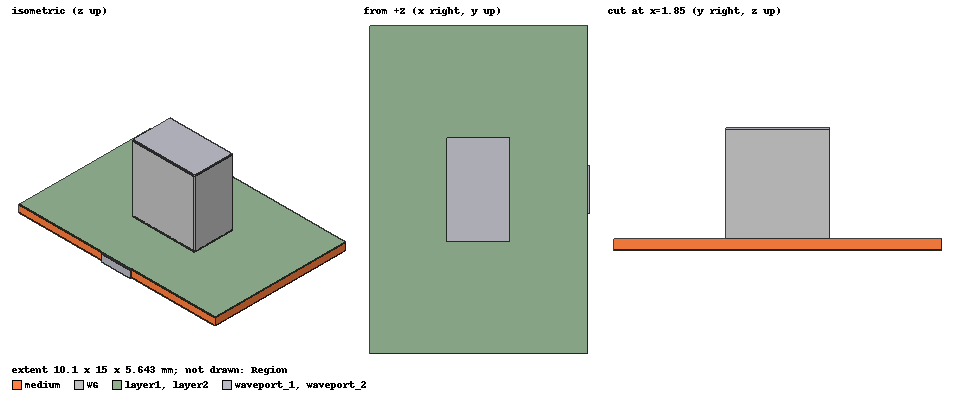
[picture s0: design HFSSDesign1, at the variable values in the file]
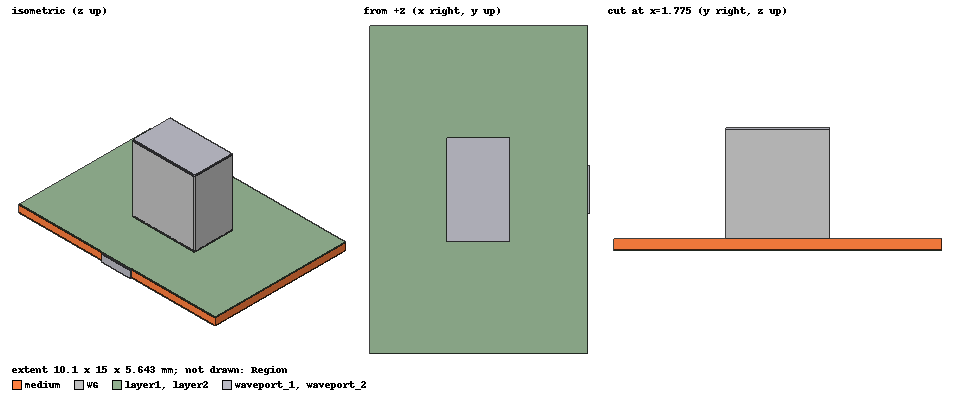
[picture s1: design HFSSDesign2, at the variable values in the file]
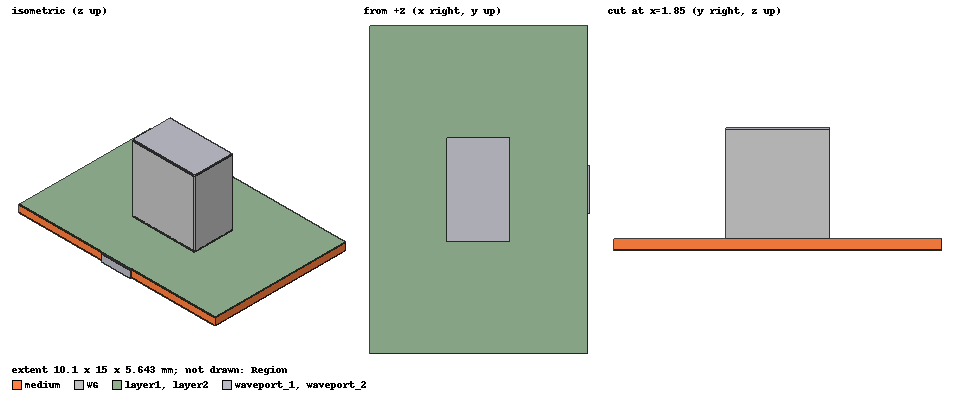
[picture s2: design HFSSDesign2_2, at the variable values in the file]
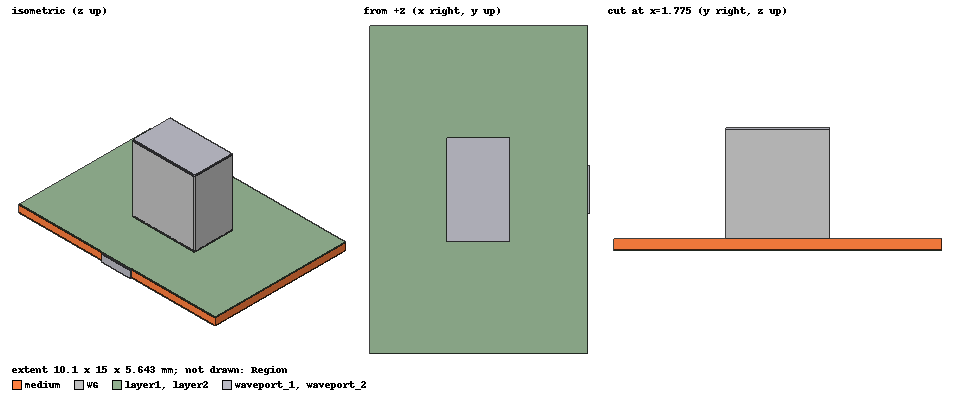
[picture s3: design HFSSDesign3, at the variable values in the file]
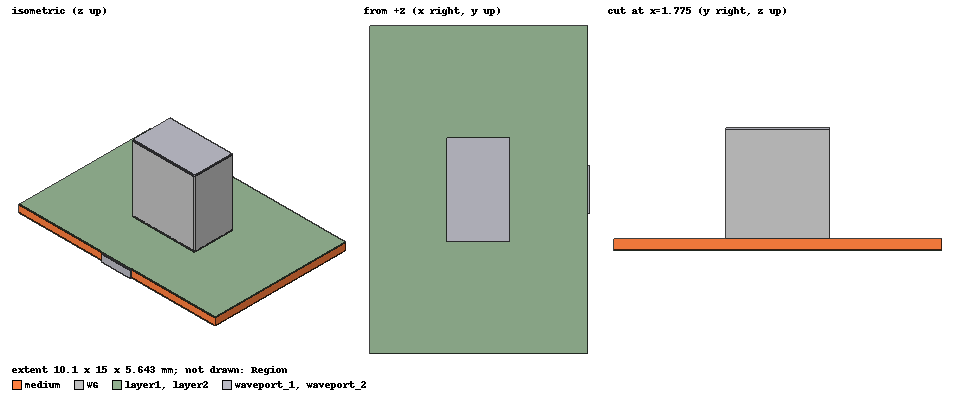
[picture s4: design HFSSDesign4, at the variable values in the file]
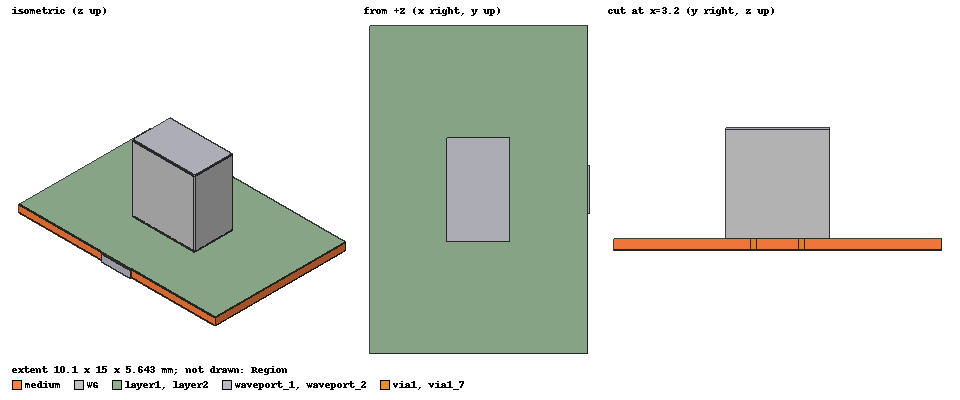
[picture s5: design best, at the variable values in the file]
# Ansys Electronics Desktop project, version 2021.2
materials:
  vacuum: permittivity=1
  air: permittivity=1.0006 permeability=1.0000004
  Rogers RO4003 (tm): permittivity=3.55 dielectric_loss_tangent=0.0027
  copper: permeability=0.999991 conductivity=58000000
  pec: conductivity=1e+30

design HFSSDesign1 (HFSS, DrivenModal, model units mm)
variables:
  m_length = 10mm
  m_width = 15mm
  m_thickness = 0.508mm
  line_thickness = 0.035mm
  WG_length = 1.8796mm
  WG_width = 3.7592mm
  WG_high = 5mm
  WG_thickness = 0.5mm
  patch_length = 0.67mm
  patch_width = 1.65mm
  Ls = 1.85mm
  Ws = 2.8mm
  via_radius = 0.15mm
  W2 = 3.35mm
  W1 = 1.75mm
  SIW_widness = 2.18mm
  sector_raduis = 0.3mm
  patch_x_dis = -0.3mm
  via_front_x_dis = -0.1mm
  sided_via_x_dis = 0.5mm
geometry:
  medium [Rogers RO4003 (tm)] = box(corner=(-m_length/2, -m_width /2, -m_thickness/2), size=(m_length, m_width, m_thickness))
  layer1 [copper] = box(corner=(-m_length/2, -m_width /2, m_thickness/2), size=(m_length, m_width, line_thickness))
  layer2 [copper] = box(corner=(-m_length/2, -m_width /2, - m_thickness/2 - line_thickness), size=(m_length, m_width, line_thickness))
  WG [copper] = box(corner=(- (WG_length + WG_thickness * 2) /2, - (WG_width  + WG_thickness * 2) /2, m_thickness/2+line_thickness), size=(WG_length + WG_thickness * 2, WG_width  + WG_thickness * 2, WG_high - line_thickness))
  WG_sub = box(corner=(- (WG_length) /2, - (WG_width ) /2, m_thickness/2 + line_thickness), size=(WG_length, WG_width, WG_high - line_thickness))
  patch [copper] = box(corner=(-patch_length/2, -patch_width/2, m_thickness/2), size=(patch_length, patch_width, line_thickness))
  via_sided [copper] = cylinder(axis=Z, base_centre=(0.05mm, -W2/2, -m_thickness/2), radius=via_radius, height=m_thickness)
  via_front [copper] = cylinder(axis=Z, base_centre=(m_length /2 - via_radius*3 - 3.54 mm, -W1/2, -m_thickness/2), radius=via_radius, height=m_thickness)
  via = cylinder(axis=Z, base_centre=(m_length /2 - via_radius*3, -SIW_widness/2, -m_thickness/2), radius=via_radius, height=m_thickness)
  via_1..via_5 = via.duplicate_along_line(step=(-0.6mm, 0mm, 0mm), total=6)
  via_front_sector = cylinder(axis=Z, base_centre=(m_length /2 - via_radius*3 - 3.54 mm, -W1/2, m_thickness/2), radius=sector_raduis, height=line_thickness)
  via_front_sector_1 = via_front_sector.duplicate_mirror(point=(0mm, 0mm, 0mm), normal=(0mm, 1mm, 0mm))
  via_5_1, via_5_2 = via_5.duplicate_along_line(step=(0mm, -0.6mm, 0mm), total=3)
  via_back_side [copper], via_5_2_1..via_5_2_4 = via_5_2.duplicate_along_line(step=(-0.6mm, 0mm, 0mm), total=6)
  via_5_2_5_1..via_5_2_5_8 = via_back_side.duplicate_along_line(step=(0mm, 0.56mm, 0mm), total=9)
  via_back_side.unite(via_5_2_5_1..via_5_2_5_8)
  via_6 [copper] = via.duplicate_mirror(point=(0mm, 0mm, 0mm), normal=(0mm, 1mm, 0mm))
  via_1_1 = via_1.duplicate_mirror(point=(0mm, 0mm, 0mm), normal=(0mm, 1mm, 0mm))
  via_2_1 = via_2.duplicate_mirror(point=(0mm, 0mm, 0mm), normal=(0mm, 1mm, 0mm))
  via_3_1 = via_3.duplicate_mirror(point=(0mm, 0mm, 0mm), normal=(0mm, 1mm, 0mm))
  via_4_1 = via_4.duplicate_mirror(point=(0mm, 0mm, 0mm), normal=(0mm, 1mm, 0mm))
  via_5_3 = via_5.duplicate_mirror(point=(0mm, 0mm, 0mm), normal=(0mm, 1mm, 0mm))
  via_5_1_1 = via_5_1.duplicate_mirror(point=(0mm, 0mm, 0mm), normal=(0mm, 1mm, 0mm))
  via_5_2_6 = via_5_2.duplicate_mirror(point=(0mm, 0mm, 0mm), normal=(0mm, 1mm, 0mm))
  via_5_2_1_1 = via_5_2_1.duplicate_mirror(point=(0mm, 0mm, 0mm), normal=(0mm, 1mm, 0mm))
  via_5_2_2_1 = via_5_2_2.duplicate_mirror(point=(0mm, 0mm, 0mm), normal=(0mm, 1mm, 0mm))
  via_5_2_3_1 = via_5_2_3.duplicate_mirror(point=(0mm, 0mm, 0mm), normal=(0mm, 1mm, 0mm))
  via_5_2_4_1 = via_5_2_4.duplicate_mirror(point=(0mm, 0mm, 0mm), normal=(0mm, 1mm, 0mm))
  via_front_1 = via_front.duplicate_mirror(point=(0mm, 0mm, 0mm), normal=(0mm, 1mm, 0mm))
  via_sided_1 = via_sided.duplicate_mirror(point=(0mm, 0mm, 0mm), normal=(0mm, 1mm, 0mm))
  via_front.unite(via_front_1)
  via_sided.unite(via_sided_1)
  via_6.unite(via, via_1, via_1_1, via_2, via_2_1, via_3, via_3_1, via_4, via_4_1, via_5, via_5_1, via_5_1_1, via_5_2, via_5_2_1, via_5_2_1_1, via_5_2_2, via_5_2_2_1, via_5_2_3, via_5_2_3_1, via_5_2_4, via_5_2_4_1, via_5_2_6, via_5_3)
  WG.subtract(WG_sub)
  waveport1 = rectangle(corner=(- (WG_length + WG_thickness * 2) /2, - (WG_width  + WG_thickness * 2) /2, m_thickness/2 + WG_high), x_size=WG_length + WG_thickness * 2, y_size=WG_width  + WG_thickness * 2)
  waveport_1 [pec] = box(corner=(- (WG_length + WG_thickness * 2) /2, - (WG_width  + WG_thickness * 2) /2, m_thickness/2 + WG_high), size=(WG_length  + WG_thickness * 2, WG_width  + WG_thickness * 2, 0.1mm))
  waveport2 = rectangle(corner=(m_length/2, - SIW_widness/2, -m_thickness/2 - line_thickness), y_size=SIW_widness, z_size=m_thickness+line_thickness*2)
  waveport_2 [pec] = box(corner=(m_length/2, - SIW_widness/2, -m_thickness/2 - line_thickness), size=(0.1mm, SIW_widness, m_thickness + line_thickness *2))
  Region [air] = region(percentage_offset=30 on all sides)
  layer1_sub = box(corner=(-Ls/2, -Ws /2, m_thickness/2), size=(Ls, Ws, line_thickness))
  layer1.subtract(layer1_sub)
  layer1.unite(via_front_sector, via_front_sector_1)
  patch.move(patch_x_dis, 0, 0mm)
  via_front.move(via_front_x_dis, 0mm, 0mm)
  via_sided.move(sided_via_x_dis, 0mm, 0mm)
  via_6_1 = via_6.copy()
  via_back_side_1 = via_back_side.copy()
  via_front_2 = via_front.copy()
  via_sided_2 = via_sided.copy()
  medium.subtract(via_6_1, via_back_side_1, via_front_2, via_sided_2)
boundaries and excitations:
  Rad1: Radiation Objects=Region
  1: Wave Port Objects=waveport1 NumModes=1 Modes{Mode1{CharImp=Zpi}}
  2: Wave Port Objects=waveport2 NumModes=1 Modes{Mode1{CharImp=Zpi}}
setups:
  Setup1: HfssDriven Frequency=60GHz MaxDeltaS=0.02 MaximumPasses=10 MinimumPasses=1 MinimumConvergedPasses=1 PercentRefinement=30 BasisOrder=1 PortAccuracy=2
    sweep Sweep: 50GHz to 70GHz step 0.1GHz; Type=Interpolating InterpTolerance=0.5 InterpMaxSolns=250 InterpUsePortImped=false PassivityErrorTolerance=0.0001
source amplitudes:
  1:1: 1W 0deg
  2:1: 0W 0deg
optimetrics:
  ParametricSetup1: Parametric Sim._Setups=[Setup1]
    sweep sided_via_x_dis: LIN -0.1mm 0.5mm 0.1mm
    sweep via_front_x_dis: LIN -0.2mm 0.2mm 0.1mm
    sweep patch_x_dis: LIN -0.3mm 0.3mm 0.1mm
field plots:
  Mag_E1, Mag_E3: E Field in Region on Setup1 : LastAdaptive at Freq=60GHz Phase=0deg
  Mag_E2, Mag_E4: E Field in medium on Setup1 : LastAdaptive at Freq=60GHz Phase=0deg
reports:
  S Parameter Plot 1: dB(S(1,1)), dB(S(2,1)) vs Freq on Setup1 : Sweep
  S Parameter Plot 2: dB(S(2,1)) vs Freq on Setup1 : Sweep [patch_x_dis=all via_front_x_dis=all sided_via_x_dis=all]; markers MY1 at y=-1
  S Parameter Plot 3: dB(S(1,1)), dB(S(2,1)) vs Freq on Setup1 : Sweep [patch_x_dis=-0.3mm via_front_x_dis=-0.1mm sided_via_x_dis=0.5mm]; markers MY1 at y=-1

design HFSSDesign2 (HFSS, DrivenModal, model units mm)
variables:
  m_length = 10mm
  m_width = 15mm
  m_thickness = 0.508mm
  line_thickness = 0.035mm
  WG_length = 1.8796mm
  WG_width = 3.7592mm
  WG_high = 5mm
  WG_thickness = 0.5mm
  patch_length = 0.67mm
  patch_width = 1.65mm
  Ls = 1.85mm
  Ws = 2.8mm
  via_radius = 0.15mm
  W2 = 3.35mm
  W1 = 1.75mm
  SIW_widness = 2.18mm
  sector_raduis = 0.01mm
  patch_x_dis = -0.3mm
  via_front_x_dis = -0.2mm
  sided_via_x_dis = 0.4mm
  via_front_radius = 0.12mm
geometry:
  medium [Rogers RO4003 (tm)] = box(corner=(-m_length/2, -m_width /2, -m_thickness/2), size=(m_length, m_width, m_thickness))
  layer1 [copper] = box(corner=(-m_length/2, -m_width /2, m_thickness/2), size=(m_length, m_width, line_thickness))
  layer2 [copper] = box(corner=(-m_length/2, -m_width /2, - m_thickness/2 - line_thickness), size=(m_length, m_width, line_thickness))
  WG [copper] = box(corner=(- (WG_length + WG_thickness * 2) /2, - (WG_width  + WG_thickness * 2) /2, m_thickness/2+line_thickness), size=(WG_length + WG_thickness * 2, WG_width  + WG_thickness * 2, WG_high - line_thickness))
  WG_sub = box(corner=(- (WG_length) /2, - (WG_width ) /2, m_thickness/2 + line_thickness), size=(WG_length, WG_width, WG_high - line_thickness))
  patch [copper] = box(corner=(-patch_length/2, -patch_width/2, m_thickness/2), size=(patch_length, patch_width, line_thickness))
  via_sided [copper] = cylinder(axis=Z, base_centre=(0.05mm, -W2/2, -m_thickness/2), radius=via_radius, height=m_thickness)
  via_front [copper] = cylinder(axis=Z, base_centre=(m_length /2 - via_radius*3 - 3.25 mm, -W1/2, -m_thickness/2), radius=via_front_radius, height=m_thickness)
  via = cylinder(axis=Z, base_centre=(m_length /2 - via_radius*3.5, -SIW_widness/2, -m_thickness/2), radius=via_radius, height=m_thickness)
  via_1..via_5 = via.duplicate_along_line(step=(-0.6mm, 0mm, 0mm), total=6)
  via_front_sector = cylinder(axis=Z, base_centre=(m_length /2 - via_radius*3 - 3.54 mm, -W1/2, m_thickness/2), radius=sector_raduis, height=line_thickness)
  via_front_sector_1 = via_front_sector.duplicate_mirror(point=(0mm, 0mm, 0mm), normal=(0mm, 1mm, 0mm))
  via_5_1, via_5_2 = via_5.duplicate_along_line(step=(0mm, -0.6mm, 0mm), total=3)
  via_back_side [copper], via_5_2_1..via_5_2_4 = via_5_2.duplicate_along_line(step=(-0.6mm, 0mm, 0mm), total=6)
  via_5_2_5_1..via_5_2_5_8 = via_back_side.duplicate_along_line(step=(0mm, 0.56mm, 0mm), total=9)
  via_back_side.unite(via_5_2_5_1..via_5_2_5_8)
  via_6 [copper] = via.duplicate_mirror(point=(0mm, 0mm, 0mm), normal=(0mm, 1mm, 0mm))
  via_1_1 = via_1.duplicate_mirror(point=(0mm, 0mm, 0mm), normal=(0mm, 1mm, 0mm))
  via_2_1 = via_2.duplicate_mirror(point=(0mm, 0mm, 0mm), normal=(0mm, 1mm, 0mm))
  via_3_1 = via_3.duplicate_mirror(point=(0mm, 0mm, 0mm), normal=(0mm, 1mm, 0mm))
  via_4_1 = via_4.duplicate_mirror(point=(0mm, 0mm, 0mm), normal=(0mm, 1mm, 0mm))
  via_5_3 = via_5.duplicate_mirror(point=(0mm, 0mm, 0mm), normal=(0mm, 1mm, 0mm))
  via_5_1_1 = via_5_1.duplicate_mirror(point=(0mm, 0mm, 0mm), normal=(0mm, 1mm, 0mm))
  via_5_2_6 = via_5_2.duplicate_mirror(point=(0mm, 0mm, 0mm), normal=(0mm, 1mm, 0mm))
  via_5_2_1_1 = via_5_2_1.duplicate_mirror(point=(0mm, 0mm, 0mm), normal=(0mm, 1mm, 0mm))
  via_5_2_2_1 = via_5_2_2.duplicate_mirror(point=(0mm, 0mm, 0mm), normal=(0mm, 1mm, 0mm))
  via_5_2_3_1 = via_5_2_3.duplicate_mirror(point=(0mm, 0mm, 0mm), normal=(0mm, 1mm, 0mm))
  via_5_2_4_1 = via_5_2_4.duplicate_mirror(point=(0mm, 0mm, 0mm), normal=(0mm, 1mm, 0mm))
  via_front_1 = via_front.duplicate_mirror(point=(0mm, 0mm, 0mm), normal=(0mm, 1mm, 0mm))
  via_sided_1 = via_sided.duplicate_mirror(point=(0mm, 0mm, 0mm), normal=(0mm, 1mm, 0mm))
  via_front.unite(via_front_1)
  via_sided.unite(via_sided_1)
  via_6.unite(via, via_1, via_1_1, via_2, via_2_1, via_3, via_3_1, via_4, via_4_1, via_5, via_5_1, via_5_1_1, via_5_2, via_5_2_1, via_5_2_1_1, via_5_2_2, via_5_2_2_1, via_5_2_3, via_5_2_3_1, via_5_2_4, via_5_2_4_1, via_5_2_6, via_5_3)
  WG.subtract(WG_sub)
  waveport1 = rectangle(corner=(- (WG_length + WG_thickness * 2) /2, - (WG_width  + WG_thickness * 2) /2, m_thickness/2 + WG_high), x_size=WG_length + WG_thickness * 2, y_size=WG_width  + WG_thickness * 2)
  waveport_1 [pec] = box(corner=(- (WG_length + WG_thickness * 2) /2, - (WG_width  + WG_thickness * 2) /2, m_thickness/2 + WG_high), size=(WG_length  + WG_thickness * 2, WG_width  + WG_thickness * 2, 0.1mm))
  waveport2 = rectangle(corner=(m_length/2, - SIW_widness/2, -m_thickness/2 - line_thickness), y_size=SIW_widness, z_size=m_thickness+line_thickness*2)
  waveport_2 [pec] = box(corner=(m_length/2, - SIW_widness/2, -m_thickness/2 - line_thickness), size=(0.1mm, SIW_widness, m_thickness + line_thickness *2))
  Region [air] = region(percentage_offset=30 on all sides)
  layer1_sub = box(corner=(-Ls/2, -Ws /2, m_thickness/2), size=(Ls, Ws, line_thickness))
  layer1.subtract(layer1_sub)
  layer1.unite(via_front_sector, via_front_sector_1)
  patch.move(patch_x_dis, 0, 0mm)
  via_front.move(via_front_x_dis, 0mm, 0mm)
  via_sided.move(sided_via_x_dis, 0mm, 0mm)
  via_6_1 = via_6.copy()
  via_back_side_1 = via_back_side.copy()
  via_front_2 = via_front.copy()
  via_sided_2 = via_sided.copy()
  medium.subtract(via_6_1, via_back_side_1, via_front_2, via_sided_2)
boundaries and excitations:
  Rad1: Radiation Objects=Region
  1: Wave Port Objects=waveport1 NumModes=1 Modes{Mode1{CharImp=Zpi}}
  2: Wave Port Objects=waveport2 NumModes=1 Modes{Mode1{CharImp=Zpi}}
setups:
  Setup1: HfssDriven Frequency=60GHz MaxDeltaS=0.02 MaximumPasses=10 MinimumPasses=1 MinimumConvergedPasses=1 PercentRefinement=30 BasisOrder=1 PortAccuracy=2
    sweep Sweep: 50GHz to 70GHz step 0.1GHz; Type=Interpolating InterpTolerance=0.5 InterpMaxSolns=250 InterpUsePortImped=false PassivityErrorTolerance=0.0001
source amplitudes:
  1:1: 1W 0deg
  2:1: 0W 0deg
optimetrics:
  ParametricSetup1: Parametric Sim._Setups=[Setup1]
    sweep patch_x_dis: LIN -0.3mm 0mm 0.1mm
  ParametricSetup2: Parametric Sim._Setups=[Setup1]
    sweep W1: LIN 1mm 1.7mm 0.1mm
  ParametricSetup3: Parametric Sim._Setups=[Setup1]
    sweep W1: 1.5mm
  ParametricSetup4: Parametric Sim._Setups=[Setup1]
    sweep sided_via_x_dis: LIN 0mm 0.6mm 0.1mm
    sweep via_front_x_dis: LIN -0.3mm -0.1mm 0.1mm
  ParametricSetup5: Parametric Sim._Setups=[Setup1]
    sweep SIW_widness: 2.3mm
  ParametricSetup6: Parametric Sim._Setups=[Setup1]
    sweep SIW_widness: LIN 2mm 2.2mm 0.02mm
    sweep via_front_x_dis: LIN -0.3mm -0.1mm 0.05mm
    sweep sided_via_x_dis: LIN 0.3mm 0.5mm 0.05mm
  ParametricSetup7: Parametric Sim._Setups=[Setup1]
    sweep patch_x_dis: LIN -0.3mm 0.1mm 0.1mm
    sweep patch_length: LIN 0.57mm 0.77mm 0.05mm
    sweep patch_width: LIN 1.45mm 1.7mm 0.05mm
  ParametricSetup8: Parametric Sim._Setups=[Setup1]
    sweep patch_x_dis: LIN -0.3mm -0.1mm 0.1mm
    sweep patch_length: LIN 0.25mm 0.4mm 0.05mm
    sweep patch_width: LIN 1.2mm 1.4mm 0.1mm
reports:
  S Parameter Plot 1: dB(S(1,1)), dB(S(2,1)) vs Freq on Setup1 : Sweep; markers MY1 at y=-1, MY2 at y=-10
  S Parameter Plot 3: dB(S(2,1)) vs Freq on Setup1 : Sweep [W1=all patch_x_dis=all]; markers MY1 at y=-1
  S Parameter Plot 4: dB(S(2,1)) vs Freq on Setup1 : Sweep [W1=all patch_x_dis=all via_front_x_dis=all sided_via_x_dis=all via_front_radius=all]; markers MY1 at y=-1
  S Parameter Plot 5: dB(S(2,1)) vs Freq on Setup1 : Sweep [SIW_widness=2.18mm,2.3mm]
  S Parameter Plot 6: dB(S(2,1)) vs Freq on Setup1 : Sweep [W1=all SIW_widness=all patch_x_dis=all via_front_x_dis=all sided_via_x_dis=all via_front_radius=all]; markers MY1 at y=-1
  S Parameter Plot 7: dB(S(2,1)) vs Freq on Setup1 : Sweep [SIW_widness=all via_front_x_dis=-0.2mm sided_via_x_dis=0mm via_front_radius=0.12mm]
  S Parameter Plot 8: dB(S(2,1)) vs Freq on Setup1 : Sweep [patch_length=0.57mm patch_width=all patch_x_dis=-0.3mm]; markers MY1 at y=-1
  S Parameter Plot 9: dB(S(2,1)) vs Freq on Setup1 : Sweep [patch_length=0.25mm,0.3mm,0.35mm,0.4mm patch_width=1.2mm,1.3mm,1.4mm,1.45mm patch_x_dis=-0.3mm,-0.2mm]; markers MY1 at y=-1

design HFSSDesign2_2 (HFSS, DrivenModal, model units mm)
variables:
  m_length = 10mm
  m_width = 15mm
  m_thickness = 0.508mm
  line_thickness = 0.035mm
  WG_length = 1.8796mm
  WG_width = 3.7592mm
  WG_high = 5mm
  WG_thickness = 0.5mm
  patch_length = 0.67mm
  patch_width = 1.65mm
  Ls = 1.85mm
  Ws = 2.8mm
  via_radius = 0.15mm
  W2 = 3.35mm
  W1 = 1.75mm
  SIW_widness = 2.18mm
  sector_raduis = 0.01mm
  patch_x_dis = -0.3mm
  via_front_x_dis = -0.2mm
  sided_via_x_dis = 0mm
  via_front_radius = 0.12mm
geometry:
  medium [Rogers RO4003 (tm)] = box(corner=(-m_length/2, -m_width /2, -m_thickness/2), size=(m_length, m_width, m_thickness))
  layer1 [copper] = box(corner=(-m_length/2, -m_width /2, m_thickness/2), size=(m_length, m_width, line_thickness))
  layer2 [copper] = box(corner=(-m_length/2, -m_width /2, - m_thickness/2 - line_thickness), size=(m_length, m_width, line_thickness))
  WG [copper] = box(corner=(- (WG_length + WG_thickness * 2) /2, - (WG_width  + WG_thickness * 2) /2, m_thickness/2+line_thickness), size=(WG_length + WG_thickness * 2, WG_width  + WG_thickness * 2, WG_high - line_thickness))
  WG_sub = box(corner=(- (WG_length) /2, - (WG_width ) /2, m_thickness/2 + line_thickness), size=(WG_length, WG_width, WG_high - line_thickness))
  patch [copper] = box(corner=(-patch_length/2, -patch_width/2, m_thickness/2), size=(patch_length, patch_width, line_thickness))
  via_sided [copper] = cylinder(axis=Z, base_centre=(0.05mm, -W2/2, -m_thickness/2), radius=via_radius, height=m_thickness)
  via_front [copper] = cylinder(axis=Z, base_centre=(m_length /2 - via_radius*3 - 3.25 mm, -W1/2, -m_thickness/2), radius=via_front_radius, height=m_thickness)
  via = cylinder(axis=Z, base_centre=(m_length /2 - via_radius*2.5, -SIW_widness/2, -m_thickness/2), radius=via_radius, height=m_thickness)
  via_5 = via.duplicate_along_line(step=(-0.6mm, 0mm, 0mm), total=6)  # copies kept: 5
  via_front_sector = cylinder(axis=Z, base_centre=(m_length /2 - via_radius*3 - 3.54 mm, -W1/2, m_thickness/2), radius=sector_raduis, height=line_thickness)
  via_front_sector_1 = via_front_sector.duplicate_mirror(point=(0mm, 0mm, 0mm), normal=(0mm, 1mm, 0mm))
  via_5_2 = via_5.duplicate_along_line(step=(0mm, -0.6mm, 0mm), total=3)  # copies kept: 2
  via_back_side [copper] = via_5_2.duplicate_along_line(step=(-0.6mm, 0mm, 0mm), total=6)  # copies kept: 5
  via_5_2_5_1..via_5_2_5_8 = via_back_side.duplicate_along_line(step=(0mm, 0.56mm, 0mm), total=9)
  via_back_side.unite(via_5_2_5_1..via_5_2_5_8)
  [via, via_5, via_5_2].delete()
  via_front_1 = via_front.duplicate_mirror(point=(0mm, 0mm, 0mm), normal=(0mm, 1mm, 0mm))
  via_sided_1 = via_sided.duplicate_mirror(point=(0mm, 0mm, 0mm), normal=(0mm, 1mm, 0mm))
  via_front.unite(via_front_1)
  via_sided.unite(via_sided_1)
  WG.subtract(WG_sub)
  waveport1 = rectangle(corner=(- (WG_length + WG_thickness * 2) /2, - (WG_width  + WG_thickness * 2) /2, m_thickness/2 + WG_high), x_size=WG_length + WG_thickness * 2, y_size=WG_width  + WG_thickness * 2)
  waveport_1 [pec] = box(corner=(- (WG_length + WG_thickness * 2) /2, - (WG_width  + WG_thickness * 2) /2, m_thickness/2 + WG_high), size=(WG_length  + WG_thickness * 2, WG_width  + WG_thickness * 2, 0.1mm))
  waveport2 = rectangle(corner=(m_length/2, - SIW_widness/2, -m_thickness/2 - line_thickness), y_size=SIW_widness, z_size=m_thickness+line_thickness*2)
  waveport_2 [pec] = box(corner=(m_length/2, - SIW_widness/2, -m_thickness/2 - line_thickness), size=(0.1mm, SIW_widness, m_thickness + line_thickness *2))
  Region [air] = region(percentage_offset=30 on all sides)
  layer1_sub = box(corner=(-Ls/2, -Ws /2, m_thickness/2), size=(Ls, Ws, line_thickness))
  layer1.subtract(layer1_sub)
  layer1.unite(via_front_sector, via_front_sector_1)
  patch.move(patch_x_dis, 0, 0mm)
  via_front.move(via_front_x_dis, 0mm, 0mm)
  via_sided.move(sided_via_x_dis, 0mm, 0mm)
  via_6 [copper] = cylinder(axis=Z, base_centre=(m_length /2 - via_radius*2, - SIW_widness /2, - m_thickness /2), radius=via_radius, height=m_thickness)
  via_6_1..via_6_6 = via_6.duplicate_along_line(step=(-0.5mm, 0mm, 0mm), total=7)
  via_6_6_1, via_6_6_2 = via_6_6.duplicate_along_line(step=(0mm, -0.5mm, 0mm), total=3)
  via_6_6_2_1..via_6_6_2_5 = via_6_6_2.duplicate_along_line(step=(-0.5mm, 0mm, 0mm), total=6)
  [via_6_6_2, via_6_6_2_1..via_6_6_2_5].move(-0.2mm, 0mm, 0mm)
  via_6.unite(via_6_1..via_6_6, via_6_6_1, via_6_6_2, via_6_6_2_1..via_6_6_2_5)
  via_6_7 [copper] = via_6.duplicate_mirror(point=(0mm, 0mm, 0mm), normal=(0mm, -1mm, 0mm))
  via_6_8 = via_6.copy()
  via_6_7_1 = via_6_7.copy()
  via_back_side_1 = via_back_side.copy()
  via_front_2 = via_front.copy()
  via_sided_2 = via_sided.copy()
  medium.subtract(via_6_8, via_6_7_1, via_back_side_1, via_front_2, via_sided_2)
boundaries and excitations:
  Rad1: Radiation Objects=Region
  1: Wave Port Objects=waveport1 NumModes=1 Modes{Mode1{CharImp=Zpi}}
  2: Wave Port Objects=waveport2 NumModes=1 Modes{Mode1{CharImp=Zpi}}
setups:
  Setup1: HfssDriven Frequency=60GHz MaxDeltaS=0.02 MaximumPasses=10 MinimumPasses=1 MinimumConvergedPasses=1 PercentRefinement=30 BasisOrder=1 PortAccuracy=2
    sweep Sweep: 50GHz to 70GHz step 0.1GHz; Type=Interpolating InterpTolerance=0.5 InterpMaxSolns=250 InterpUsePortImped=false PassivityErrorTolerance=0.0001
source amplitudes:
  1:1: 1W 0deg
  2:1: 0W 0deg
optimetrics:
  ParametricSetup1: Parametric Sim._Setups=[Setup1]
    sweep SIW_widness: LIN 2.1mm 2.3mm 0.02mm
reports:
  S Parameter Plot 1: dB(S(1,1)), dB(S(2,1)) vs Freq on Setup1 : Sweep; markers MY1 at y=-1
  S Parameter Plot 2: dB(S(2,1)) vs Freq on Setup1 : Sweep [SIW_widness=all]

design HFSSDesign3 (HFSS, DrivenModal, model units mm)
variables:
  m_length = 10mm
  m_width = 15mm
  m_thickness = 0.508mm
  line_thickness = 0.035mm
  WG_length = 1.8796mm
  WG_width = 3.7592mm
  WG_high = 5mm
  WG_thickness = 0.5mm
  patch_length = 0.4mm
  patch_width = 1.4mm
  Ls = 1.85mm
  Ws = 2.8mm
  via_radius = 0.15mm
  W2 = 3.35mm
  W1 = 1.75mm
  SIW_widness = 2.18mm
  sector_raduis = 0.01mm
  patch_x_dis = -0.3mm
  via_front_x_dis = -0.2mm
  sided_via_x_dis = 0.4mm
  via_front_radius = 0.12mm
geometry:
  medium [Rogers RO4003 (tm)] = box(corner=(-m_length/2, -m_width /2, -m_thickness/2), size=(m_length, m_width, m_thickness))
  layer1 [copper] = box(corner=(-m_length/2, -m_width /2, m_thickness/2), size=(m_length, m_width, line_thickness))
  layer2 [copper] = box(corner=(-m_length/2, -m_width /2, - m_thickness/2 - line_thickness), size=(m_length, m_width, line_thickness))
  WG [copper] = box(corner=(- (WG_length + WG_thickness * 2) /2, - (WG_width  + WG_thickness * 2) /2, m_thickness/2+line_thickness), size=(WG_length + WG_thickness * 2, WG_width  + WG_thickness * 2, WG_high - line_thickness))
  WG_sub = box(corner=(- (WG_length) /2, - (WG_width ) /2, m_thickness/2 + line_thickness), size=(WG_length, WG_width, WG_high - line_thickness))
  patch [copper] = box(corner=(-patch_length/2, -patch_width/2, m_thickness/2), size=(patch_length, patch_width, line_thickness))
  via_sided [copper] = cylinder(axis=Z, base_centre=(0.05mm, -W2/2, -m_thickness/2), radius=via_radius, height=m_thickness)
  via_front [copper] = cylinder(axis=Z, base_centre=(m_length /2 - via_radius*3 - 3.2 mm, -W1/2, -m_thickness/2), radius=via_front_radius, height=m_thickness)
  via = cylinder(axis=Z, base_centre=(m_length /2 - via_radius*3.5, -SIW_widness/2, -m_thickness/2), radius=via_radius, height=m_thickness)
  via_1..via_5 = via.duplicate_along_line(step=(-0.6mm, 0mm, 0mm), total=6)
  via_front_sector = cylinder(axis=Z, base_centre=(m_length /2 - via_radius*3 - 3.54 mm, -W1/2, m_thickness/2), radius=sector_raduis, height=line_thickness)
  via_front_sector_1 = via_front_sector.duplicate_mirror(point=(0mm, 0mm, 0mm), normal=(0mm, 1mm, 0mm))
  via_5_1, via_5_2 = via_5.duplicate_along_line(step=(0mm, -0.6mm, 0mm), total=3)
  via_back_side [copper], via_5_2_1..via_5_2_4 = via_5_2.duplicate_along_line(step=(-0.6mm, 0mm, 0mm), total=6)
  via_5_2_5_1..via_5_2_5_8 = via_back_side.duplicate_along_line(step=(0mm, 0.56mm, 0mm), total=9)
  via_back_side.unite(via_5_2_5_1..via_5_2_5_8)
  via_6 [copper] = via.duplicate_mirror(point=(0mm, 0mm, 0mm), normal=(0mm, 1mm, 0mm))
  via_1_1 = via_1.duplicate_mirror(point=(0mm, 0mm, 0mm), normal=(0mm, 1mm, 0mm))
  via_2_1 = via_2.duplicate_mirror(point=(0mm, 0mm, 0mm), normal=(0mm, 1mm, 0mm))
  via_3_1 = via_3.duplicate_mirror(point=(0mm, 0mm, 0mm), normal=(0mm, 1mm, 0mm))
  via_4_1 = via_4.duplicate_mirror(point=(0mm, 0mm, 0mm), normal=(0mm, 1mm, 0mm))
  via_5_3 = via_5.duplicate_mirror(point=(0mm, 0mm, 0mm), normal=(0mm, 1mm, 0mm))
  via_5_1_1 = via_5_1.duplicate_mirror(point=(0mm, 0mm, 0mm), normal=(0mm, 1mm, 0mm))
  via_5_2_6 = via_5_2.duplicate_mirror(point=(0mm, 0mm, 0mm), normal=(0mm, 1mm, 0mm))
  via_5_2_1_1 = via_5_2_1.duplicate_mirror(point=(0mm, 0mm, 0mm), normal=(0mm, 1mm, 0mm))
  via_5_2_2_1 = via_5_2_2.duplicate_mirror(point=(0mm, 0mm, 0mm), normal=(0mm, 1mm, 0mm))
  via_5_2_3_1 = via_5_2_3.duplicate_mirror(point=(0mm, 0mm, 0mm), normal=(0mm, 1mm, 0mm))
  via_5_2_4_1 = via_5_2_4.duplicate_mirror(point=(0mm, 0mm, 0mm), normal=(0mm, 1mm, 0mm))
  via_front_1 = via_front.duplicate_mirror(point=(0mm, 0mm, 0mm), normal=(0mm, 1mm, 0mm))
  via_sided_1 = via_sided.duplicate_mirror(point=(0mm, 0mm, 0mm), normal=(0mm, 1mm, 0mm))
  via_front.unite(via_front_1)
  via_sided.unite(via_sided_1)
  via_6.unite(via, via_1, via_1_1, via_2, via_2_1, via_3, via_3_1, via_4, via_4_1, via_5, via_5_1, via_5_1_1, via_5_2, via_5_2_1, via_5_2_1_1, via_5_2_2, via_5_2_2_1, via_5_2_3, via_5_2_3_1, via_5_2_4, via_5_2_4_1, via_5_2_6, via_5_3)
  WG.subtract(WG_sub)
  waveport1 = rectangle(corner=(- (WG_length + WG_thickness * 2) /2, - (WG_width  + WG_thickness * 2) /2, m_thickness/2 + WG_high), x_size=WG_length + WG_thickness * 2, y_size=WG_width  + WG_thickness * 2)
  waveport_1 [pec] = box(corner=(- (WG_length + WG_thickness * 2) /2, - (WG_width  + WG_thickness * 2) /2, m_thickness/2 + WG_high), size=(WG_length  + WG_thickness * 2, WG_width  + WG_thickness * 2, 0.1mm))
  waveport2 = rectangle(corner=(m_length/2, - SIW_widness/2, -m_thickness/2 - line_thickness), y_size=SIW_widness, z_size=m_thickness+line_thickness*2)
  waveport_2 [pec] = box(corner=(m_length/2, - SIW_widness/2, -m_thickness/2 - line_thickness), size=(0.1mm, SIW_widness, m_thickness + line_thickness *2))
  Region [air] = region(percentage_offset=30 on all sides)
  layer1_sub = box(corner=(-Ls/2, -Ws /2, m_thickness/2), size=(Ls, Ws, line_thickness))
  layer1.subtract(layer1_sub)
  layer1.unite(via_front_sector, via_front_sector_1)
  patch.move(patch_x_dis, 0, 0mm)
  via_front.move(via_front_x_dis, 0mm, 0mm)
  via_sided.move(sided_via_x_dis, 0mm, 0mm)
  via_6_1 = via_6.copy()
  via_back_side_1 = via_back_side.copy()
  via_front_2 = via_front.copy()
  via_sided_2 = via_sided.copy()
  medium.subtract(via_6_1, via_back_side_1, via_front_2, via_sided_2)
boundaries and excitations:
  Rad1: Radiation Objects=Region
  1: Wave Port Objects=waveport1 NumModes=1 Modes{Mode1{CharImp=Zpi}}
  2: Wave Port Objects=waveport2 NumModes=1 Modes{Mode1{CharImp=Zpi}}
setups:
  Setup1: HfssDriven Frequency=60GHz MaxDeltaS=0.02 MaximumPasses=10 MinimumPasses=1 MinimumConvergedPasses=1 PercentRefinement=30 BasisOrder=1 PortAccuracy=2
    sweep Sweep: 50GHz to 70GHz step 0.1GHz; Type=Interpolating InterpTolerance=0.5 InterpMaxSolns=250 InterpUsePortImped=false PassivityErrorTolerance=0.0001
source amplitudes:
  1:1: 1W 0deg
  2:1: 0W 0deg
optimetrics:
  ParametricSetup1: Parametric Sim._Setups=[Setup1]
    sweep W1: 1.65mm 1.55mm
  ParametricSetup2: Parametric Sim._Setups=[Setup1]
    sweep Ls: LIN 1.65mm 1.85mm 0.05mm
    sweep Ws: LIN 2.6mm 3.3mm 0.1mm
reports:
  S Parameter Plot 1: dB(S(1,1)), dB(S(2,1)) vs Freq on Setup1 : Sweep; markers MY1 at y=-50
  S Parameter Plot 2: dB(S(2,1)) vs Freq on Setup1 : Sweep [Ls=all Ws=all W1=all]; markers MY1 at y=-1
  S Parameter Plot 3: dB(S(1,1)), dB(S(2,1)) vs Freq on Setup1 : Sweep [Ls=1.75mm Ws=2.9mm]; markers MY1 at y=-1

design HFSSDesign4 (HFSS, DrivenModal, model units mm)
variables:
  m_length = 10mm
  m_width = 15mm
  m_thickness = 0.508mm
  line_thickness = 0.035mm
  WG_length = 1.8796mm
  WG_width = 3.7592mm
  WG_high = 5mm
  WG_thickness = 0.5mm
  patch_length = 0.4mm
  patch_width = 1.4mm
  Ls = 1.75mm
  Ws = 2.9mm
  via_radius = 0.15mm
  W2 = 3.35mm
  W1 = 1.75mm
  SIW_widness = 2.18mm
  sector_raduis = 0.1mm
  patch_x_dis = -0.3mm
  via_front_x_dis = -0.2mm
  sided_via_x_dis = 0.4mm
  via_front_radius = 0.1mm
  back_via_x = 0mm
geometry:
  medium [Rogers RO4003 (tm)] = box(corner=(-m_length/2, -m_width /2, -m_thickness/2), size=(m_length, m_width, m_thickness))
  layer1 [copper] = box(corner=(-m_length/2, -m_width /2, m_thickness/2), size=(m_length, m_width, line_thickness))
  layer2 [copper] = box(corner=(-m_length/2, -m_width /2, - m_thickness/2 - line_thickness), size=(m_length, m_width, line_thickness))
  WG [copper] = box(corner=(- (WG_length + WG_thickness * 2) /2, - (WG_width  + WG_thickness * 2) /2, m_thickness/2+line_thickness), size=(WG_length + WG_thickness * 2, WG_width  + WG_thickness * 2, WG_high - line_thickness))
  WG_sub = box(corner=(- (WG_length) /2, - (WG_width ) /2, m_thickness/2 + line_thickness), size=(WG_length, WG_width, WG_high - line_thickness))
  patch [copper] = box(corner=(-patch_length/2, -patch_width/2, m_thickness/2), size=(patch_length, patch_width, line_thickness))
  via_sided [copper] = cylinder(axis=Z, base_centre=(0.05mm, -W2/2, -m_thickness/2), radius=via_front_radius, height=m_thickness)
  via_front [copper] = cylinder(axis=Z, base_centre=(m_length /2 - via_radius*3 - 3.23 mm, -W1/2, -m_thickness/2), radius=via_front_radius, height=m_thickness)
  via = cylinder(axis=Z, base_centre=(m_length /2 - via_radius*3.5, -SIW_widness/2, -m_thickness/2), radius=via_radius, height=m_thickness)
  via_1..via_5 = via.duplicate_along_line(step=(-0.6mm, 0mm, 0mm), total=6)
  via_front_sector = cylinder(axis=Z, base_centre=(m_length /2 - via_radius*3 - 3.54 mm, -W1/2, m_thickness/2), radius=sector_raduis, height=line_thickness)
  via_front_sector_1 = via_front_sector.duplicate_mirror(point=(0mm, 0mm, 0mm), normal=(0mm, 1mm, 0mm))
  via_5_1, via_5_2 = via_5.duplicate_along_line(step=(0mm, -0.6mm, 0mm), total=3)
  via_back_side [copper], via_5_2_1..via_5_2_4 = via_5_2.duplicate_along_line(step=(-0.6mm, 0mm, 0mm), total=6)
  via_5_2_5_1..via_5_2_5_8 = via_back_side.duplicate_along_line(step=(0mm, 0.56mm, 0mm), total=9)
  via_back_side.unite(via_5_2_5_1..via_5_2_5_8)
  via_6 [copper] = via.duplicate_mirror(point=(0mm, 0mm, 0mm), normal=(0mm, 1mm, 0mm))
  via_1_1 = via_1.duplicate_mirror(point=(0mm, 0mm, 0mm), normal=(0mm, 1mm, 0mm))
  via_2_1 = via_2.duplicate_mirror(point=(0mm, 0mm, 0mm), normal=(0mm, 1mm, 0mm))
  via_3_1 = via_3.duplicate_mirror(point=(0mm, 0mm, 0mm), normal=(0mm, 1mm, 0mm))
  via_4_1 = via_4.duplicate_mirror(point=(0mm, 0mm, 0mm), normal=(0mm, 1mm, 0mm))
  via_5_3 = via_5.duplicate_mirror(point=(0mm, 0mm, 0mm), normal=(0mm, 1mm, 0mm))
  via_5_1_1 = via_5_1.duplicate_mirror(point=(0mm, 0mm, 0mm), normal=(0mm, 1mm, 0mm))
  via_5_2_6 = via_5_2.duplicate_mirror(point=(0mm, 0mm, 0mm), normal=(0mm, 1mm, 0mm))
  via_5_2_1_1 = via_5_2_1.duplicate_mirror(point=(0mm, 0mm, 0mm), normal=(0mm, 1mm, 0mm))
  via_5_2_2_1 = via_5_2_2.duplicate_mirror(point=(0mm, 0mm, 0mm), normal=(0mm, 1mm, 0mm))
  via_5_2_3_1 = via_5_2_3.duplicate_mirror(point=(0mm, 0mm, 0mm), normal=(0mm, 1mm, 0mm))
  via_5_2_4_1 = via_5_2_4.duplicate_mirror(point=(0mm, 0mm, 0mm), normal=(0mm, 1mm, 0mm))
  via_front_1 = via_front.duplicate_mirror(point=(0mm, 0mm, 0mm), normal=(0mm, 1mm, 0mm))
  via_sided_1 = via_sided.duplicate_mirror(point=(0mm, 0mm, 0mm), normal=(0mm, 1mm, 0mm))
  via_front.unite(via_front_1)
  via_sided.unite(via_sided_1)
  via_6.unite(via, via_1, via_1_1, via_2, via_2_1, via_3, via_3_1, via_4, via_4_1, via_5, via_5_1, via_5_1_1, via_5_2, via_5_2_1, via_5_2_1_1, via_5_2_2, via_5_2_2_1, via_5_2_3, via_5_2_3_1, via_5_2_4, via_5_2_4_1, via_5_2_6, via_5_3)
  WG.subtract(WG_sub)
  waveport1 = rectangle(corner=(- (WG_length + WG_thickness * 2) /2, - (WG_width  + WG_thickness * 2) /2, m_thickness/2 + WG_high), x_size=WG_length + WG_thickness * 2, y_size=WG_width  + WG_thickness * 2)
  waveport_1 [pec] = box(corner=(- (WG_length + WG_thickness * 2) /2, - (WG_width  + WG_thickness * 2) /2, m_thickness/2 + WG_high), size=(WG_length  + WG_thickness * 2, WG_width  + WG_thickness * 2, 0.1mm))
  waveport2 = rectangle(corner=(m_length/2, - SIW_widness/2, -m_thickness/2 - line_thickness), y_size=SIW_widness, z_size=m_thickness+line_thickness*2)
  waveport_2 [pec] = box(corner=(m_length/2, - SIW_widness/2, -m_thickness/2 - line_thickness), size=(0.1mm, SIW_widness, m_thickness + line_thickness *2))
  layer1_sub = box(corner=(-Ls/2, -Ws /2, m_thickness/2), size=(Ls, Ws, line_thickness))
  layer1.subtract(layer1_sub)
  layer1.unite(via_front_sector, via_front_sector_1)
  patch.move(patch_x_dis, 0, 0mm)
  via_front.move(via_front_x_dis, 0mm, 0mm)
  via_sided.move(sided_via_x_dis, 0mm, 0mm)
  Region [air] = region(percentage_offset=30 on all sides)
  via_back_side.move(back_via_x, 0mm, 0mm)
  via_6_2 = via_6.copy()
  via_back_side_2 = via_back_side.copy()
  via_front_3 = via_front.copy()
  via_sided_3 = via_sided.copy()
  medium.subtract(via_6_2, via_back_side_2, via_front_3, via_sided_3)
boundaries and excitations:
  Rad1: Radiation Objects=Region
  1: Wave Port Objects=waveport1 NumModes=1 Modes{Mode1{CharImp=Zpi}}
  2: Wave Port Objects=waveport2 NumModes=1 Modes{Mode1{CharImp=Zpi}}
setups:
  Setup1: HfssDriven Frequency=60GHz MaxDeltaS=0.02 MaximumPasses=10 MinimumPasses=1 MinimumConvergedPasses=1 PercentRefinement=30 BasisOrder=1 PortAccuracy=2
    sweep Sweep: 50GHz to 70GHz step 0.1GHz; Type=Interpolating InterpTolerance=0.5 InterpMaxSolns=250 InterpUsePortImped=false PassivityErrorTolerance=0.0001
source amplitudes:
  1:1: 1W 0deg
  2:1: 0W 0deg
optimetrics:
  ParametricSetup1: Parametric Sim._Setups=[Setup1]
    sweep back_via_x: LIN -0.2mm 0mm 0.05mm
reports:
  S Parameter Plot 1: dB(S(1,1)), dB(S(2,1)) vs Freq on Setup1 : Sweep [W1=1.7mm,1.75mm]; markers MX1 at x=5e+10, MX2 at x=6.5e+10, MY1 at y=-1
  S Parameter Plot 2: dB(S(2,1)) vs Freq on Setup1 : Sweep [sided_via_x_dis=all]; markers MY1 at y=-0.966011
  S Parameter Plot 3: dB(S(2,1)) vs Freq on Setup1 : Sweep [sided_via_x_dis=all back_via_x=all]

design best (HFSS, DrivenModal, model units mm)
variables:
  m_length = 10mm
  m_width = 15mm
  m_thickness = 0.508mm
  line_thickness = 0.035mm
  WG_length = 1.8796mm
  WG_width = 3.7592mm
  WG_high = 5mm
  WG_thickness = 0.5mm
  patch_length = 0.4mm
  patch_width = 1.4mm
  Ls = 1.75mm
  Ws = 2.9mm
  via_radius = 0.15mm
  W2 = 3.65mm
  W1 = 1.75mm
  SIW_widness = 2.18mm
  sector_raduis = 0.1mm
  patch_x_dis = -0.3mm
  via_front_x_dis = -0.2mm
  sided_via_x_dis = 0.4mm
  via_front_radius = 0.1mm
  back_via_x = -0.25mm
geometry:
  medium [Rogers RO4003 (tm)] = box(corner=(-m_length/2, -m_width /2, -m_thickness/2), size=(m_length, m_width, m_thickness))
  layer1 [copper] = box(corner=(-m_length/2, -m_width /2, m_thickness/2), size=(m_length, m_width, line_thickness))
  layer2 [copper] = box(corner=(-m_length/2, -m_width /2, - m_thickness/2 - line_thickness), size=(m_length, m_width, line_thickness))
  WG [copper] = box(corner=(- (WG_length + WG_thickness * 2) /2, - (WG_width  + WG_thickness * 2) /2, m_thickness/2+line_thickness), size=(WG_length + WG_thickness * 2, WG_width  + WG_thickness * 2, WG_high - line_thickness))
  WG_sub = box(corner=(- (WG_length) /2, - (WG_width ) /2, m_thickness/2 + line_thickness), size=(WG_length, WG_width, WG_high - line_thickness))
  patch [copper] = box(corner=(-patch_length/2, -patch_width/2, m_thickness/2), size=(patch_length, patch_width, line_thickness))
  via_sided [copper] = cylinder(axis=Z, base_centre=(0.05mm, -W2/2, -m_thickness/2), radius=via_front_radius, height=m_thickness)
  via_front [copper] = cylinder(axis=Z, base_centre=(m_length /2 - via_radius*3 - 3.23 mm, -W1/2, -m_thickness/2), radius=via_front_radius, height=m_thickness)
  via_front_sector = cylinder(axis=Z, base_centre=(m_length /2 - via_radius*3 - 3.54 mm, -W1/2, m_thickness/2), radius=sector_raduis, height=line_thickness)
  via_front_sector_1 = via_front_sector.duplicate_mirror(point=(0mm, 0mm, 0mm), normal=(0mm, 1mm, 0mm))
  via_front_1 = via_front.duplicate_mirror(point=(0mm, 0mm, 0mm), normal=(0mm, 1mm, 0mm))
  via_sided_1 = via_sided.duplicate_mirror(point=(0mm, 0mm, 0mm), normal=(0mm, 1mm, 0mm))
  via_front.unite(via_front_1)
  via_sided.unite(via_sided_1)
  WG.subtract(WG_sub)
  waveport1 = rectangle(corner=(- (WG_length + WG_thickness * 2) /2, - (WG_width  + WG_thickness * 2) /2, m_thickness/2 + WG_high), x_size=WG_length + WG_thickness * 2, y_size=WG_width  + WG_thickness * 2)
  waveport_1 [pec] = box(corner=(- (WG_length + WG_thickness * 2) /2, - (WG_width  + WG_thickness * 2) /2, m_thickness/2 + WG_high), size=(WG_length  + WG_thickness * 2, WG_width  + WG_thickness * 2, 0.1mm))
  waveport2 = rectangle(corner=(m_length/2, - SIW_widness/2, -m_thickness/2 - line_thickness), y_size=SIW_widness, z_size=m_thickness+line_thickness*2)
  waveport_2 [pec] = box(corner=(m_length/2, - SIW_widness/2, -m_thickness/2 - line_thickness), size=(0.1mm, SIW_widness, m_thickness + line_thickness *2))
  layer1_sub = box(corner=(-Ls/2, -Ws /2, m_thickness/2), size=(Ls, Ws, line_thickness))
  layer1.subtract(layer1_sub)
  layer1.unite(via_front_sector, via_front_sector_1)
  patch.move(patch_x_dis, 0, 0mm)
  via_front.move(via_front_x_dis, 0mm, 0mm)
  via_sided.move(sided_via_x_dis, 0mm, 0mm)
  Region [air] = region(percentage_offset=30 on all sides)
  via [copper] = cylinder(axis=Z, base_centre=(m_length /2 - via_radius*2 - 0.5 mm*6, - SIW_widness/2 -0.5 mm, - m_thickness/2), radius=via_radius, height=m_thickness)
  via1 [copper] = cylinder(axis=Z, base_centre=(m_length /2 - via_radius*2, - SIW_widness/2, - m_thickness/2), radius=via_radius, height=m_thickness)
  via1_1..via1_6 = via1.duplicate_along_line(step=(-0.5mm, 0mm, 0mm), total=7)
  via2 [copper] = cylinder(axis=Z, base_centre=(m_length /2 - via_radius*2 - 0.5 mm*7, - SIW_widness/2 -0.5 mm*2.2, - m_thickness/2), radius=via_radius, height=m_thickness)
  via_1 = via.duplicate_along_line(step=(0mm, -0.5mm, 0mm), total=2)
  via1.unite(via1_1..via1_6)
  via_back [copper] = cylinder(axis=Z, base_centre=(m_length /2 - via_radius*2 - 0.5 mm*12, - SIW_widness/2 -0.45 mm, - m_thickness/2), radius=via_radius, height=m_thickness)
  via2_1..via2_5 = via2.duplicate_along_line(step=(-0.5mm, 0mm, 0mm), total=6)
  via2.unite(via2_1..via2_5)
  via.unite(via_1)
  via_2 [copper] = via.duplicate_mirror(point=(0mm, 0mm, 0mm), normal=(0mm, -1mm, 0mm))
  via1_7 [copper] = via1.duplicate_mirror(point=(0mm, 0mm, 0mm), normal=(0mm, -1mm, 0mm))
  via2_6 [copper] = via2.duplicate_mirror(point=(0mm, 0mm, 0mm), normal=(0mm, -1mm, 0mm))
  via_back_1..via_back_5 = via_back.duplicate_along_line(step=(0mm, 0.6mm, 0mm), total=6)
  via_back.unite(via_back_1..via_back_5)
  via_back.move(back_via_x, 0mm, 0mm)
  via_3 = via.copy()
  via_2_1 = via_2.copy()
  via_back_6 = via_back.copy()
  via_front_2 = via_front.copy()
  via_sided_2 = via_sided.copy()
  via1_8 = via1.copy()
  via1_7_1 = via1_7.copy()
  via2_7 = via2.copy()
  via2_6_1 = via2_6.copy()
  medium.subtract(via_3, via_2_1, via_back_6, via_front_2, via_sided_2, via1_8, via1_7_1, via2_7, via2_6_1)
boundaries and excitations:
  Rad1: Radiation Objects=Region
  1: Wave Port Objects=waveport1 NumModes=1 Modes{Mode1{CharImp=Zpi}}
  2: Wave Port Objects=waveport2 NumModes=1 Modes{Mode1{CharImp=Zpi}}
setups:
  Setup1: HfssDriven Frequency=60GHz MaxDeltaS=0.02 MaximumPasses=10 MinimumPasses=1 MinimumConvergedPasses=1 PercentRefinement=30 BasisOrder=1 PortAccuracy=2
    sweep Sweep: 50GHz to 70GHz step 0.05GHz; Type=Interpolating InterpTolerance=0.5 InterpMaxSolns=250 InterpUsePortImped=false PassivityErrorTolerance=0.0001
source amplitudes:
  1:1: 1W 0deg
  2:1: 0W 0deg
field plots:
  Mag_E1: E Field in medium on Setup1 : LastAdaptive at Freq=60GHz Phase=0deg
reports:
  S Parameter Plot 5: dB(S(1,1)), dB(S(2,1)) vs Freq on Setup1 : Sweep; markers MY1 at y=-1, MY2 at y=-10
